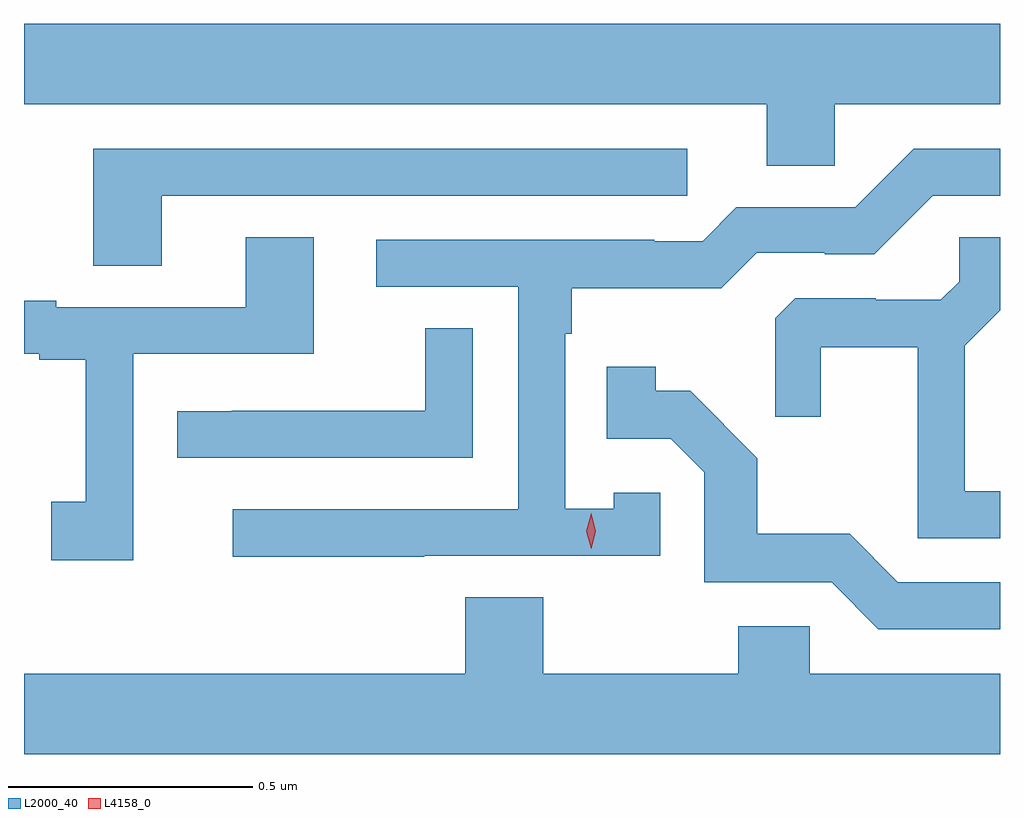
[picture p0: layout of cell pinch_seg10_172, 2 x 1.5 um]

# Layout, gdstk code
import gdstk
lib = gdstk.Library(unit=1e-6, precision=1e-09)
def P(c, l, *ps):  # polygons
    for p in ps: c.add(gdstk.Polygon(p, *l))
L2000_40 = (2000, 40)
L4158_0 = (4158, 0)

pinch_seg10_172 = lib.new_cell('pinch_seg10_172')
P(pinch_seg10_172, L2000_40, [(695.25,1273.676),(695.589,1273.676),(695.589,1273.84),(693.589,1273.84),(693.589,1273.676),(695.111,1273.676),(695.111,1273.549),(695.25,1273.549)],
  [(693.871,1273.488),(694.948,1273.488),(694.948,1273.584),(693.731,1273.584),(693.731,1273.345),(693.871,1273.345)],
  [(694.409,1272.75),(694.893,1272.75),(694.893,1272.879),(694.797,1272.879),(694.797,1272.847),(694.698,1272.847),(694.698,1273.205),(694.711,1273.205),(694.711,1273.298),(695.018,1273.298),(695.091,1273.371),(695.23,1273.371),(695.23,1273.368),(695.331,1273.368),(695.451,1273.488),(695.589,1273.488),(695.589,1273.584),(695.412,1273.584),(695.292,1273.464),(695.049,1273.464),(694.98,1273.395),(694.88,1273.395),(694.88,1273.398),(694.311,1273.398),(694.311,1273.302),(694.602,1273.302),(694.602,1272.846),(694.017,1272.846),(694.017,1272.748),(694.409,1272.748)],
  [(695.589,1272.882),(695.517,1272.882),(695.517,1273.181),(695.589,1273.253),(695.589,1273.403),(695.505,1273.403),(695.505,1273.312),(695.468,1273.275),(695.334,1273.275),(695.334,1273.278),(695.169,1273.278),(695.128,1273.237),(695.128,1273.035),(695.222,1273.035),(695.222,1273.178),(695.42,1273.178),(695.42,1272.786),(695.589,1272.786)],
  [(693.813,1273.164),(694.183,1273.164),(694.183,1273.403),(694.043,1273.403),(694.043,1273.26),(693.655,1273.26),(693.655,1273.273),(693.589,1273.273),(693.589,1273.164),(693.62,1273.164),(693.62,1273.152),(693.716,1273.152),(693.716,1272.861),(693.645,1272.861),(693.645,1272.741),(693.813,1272.741)],
  [(694.509,1273.217),(694.411,1273.217),(694.411,1273.047),(694.015,1273.047),(694.015,1273.046),(693.903,1273.046),(693.903,1272.951),(694.509,1272.951)],
  [(695.589,1272.696),(695.379,1272.696),(695.281,1272.795),(695.092,1272.795),(695.092,1272.95),(694.954,1273.088),(694.884,1273.088),(694.884,1273.138),(694.783,1273.138),(694.783,1272.99),(694.914,1272.99),(694.983,1272.921),(694.983,1272.696),(695.244,1272.696),(695.34,1272.6),(695.589,1272.6)],
  [(695.589,1272.508),(695.199,1272.508),(695.199,1272.606),(695.053,1272.606),(695.053,1272.508),(694.653,1272.508),(694.653,1272.665),(694.493,1272.665),(694.493,1272.508),(693.589,1272.508),(693.589,1272.344),(695.589,1272.344)])
P(pinch_seg10_172, L4158_0, [(694.751,1272.765),(694.751,1272.765),(694.741,1272.801),(694.751,1272.837),(694.751,1272.837),(694.751,1272.837),(694.761,1272.801),(694.751,1272.765)])

lib.write_gds('pinch_seg10_172.gds')
